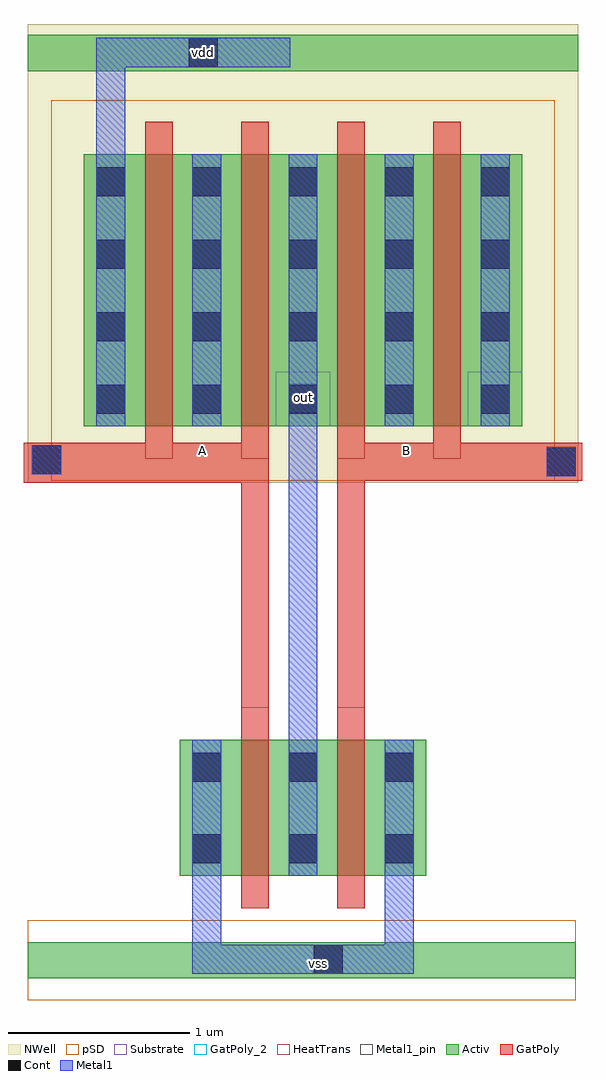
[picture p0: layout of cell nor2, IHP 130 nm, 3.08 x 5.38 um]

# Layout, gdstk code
import gdstk
lib = gdstk.Library(unit=1e-6, precision=5e-09)
def R(c, l, rs):  # rectangles x0, y0, x1, y1
    for r in rs: c.add(gdstk.rectangle(r[:2], r[2:], *l))
def A(c, l, x, y, w, h, nx, ny, dx, dy):  # array of equal rectangles
    R(c, l, [(x+i*dx, y+j*dy, x+i*dx+w, y+j*dy+h) for i in range(nx) for j in range(ny)])
Activ = (1, 0)
GatPoly = (5, 0)
GatPoly_2 = (5, 2)
Cont = (6, 0)
Metal1 = (8, 0)
Metal1_pin = (8, 2)
pSD = (14, 0)
NWell = (31, 0)
Substrate = (40, 0)
HeatTrans = (51, 0)

pmos = lib.new_cell('pmos')
A(pmos, Activ, 0, 0, 0.3, 0.3, 3, 1, 0.53, 0)
R(pmos, Activ, [(0,0,1.36,1.5)])
R(pmos, GatPoly, [(0.34,-0.18,0.49,1.68), (0.34,-0.18,0.49,1.68), (0.87,-0.18,1.02,1.68)])
A(pmos, Cont, 0.07, 0.07, 0.16, 0.16, 3, 4, 0.53, 0.4)
R(pmos, Metal1, [(0.07,0,0.23,1.5), (0.07,0,0.23,1.5), (0.6,0,0.76,1.5), (0.6,0,0.76,1.5), (1.13,0,1.29,1.5)])
R(pmos, pSD, [(-0.18,-0.3,1.54,1.8)])
R(pmos, NWell, [(-0.31,-0.31,1.67,1.81)])
R(pmos, Substrate, [(1.06,0,1.36,0.3)])
R(pmos, HeatTrans, [(0.34,-0.18,0.49,1.68), (0.87,-0.18,1.02,1.68)])
pmos.add(gdstk.Label('pmos', (0.415,0.75), layer=63, texttype=0))
pmos.add(gdstk.Label('pmos', (0.415,0.75), layer=51, texttype=0))
pmos.add(gdstk.Label('pmos', (0.945,0.75), layer=51, texttype=0))

nmos_2 = lib.new_cell('nmos$2')
R(nmos_2, Activ, [(0,0,0.3,0.3), (0,0,0.83,0.75), (0.53,0,0.83,0.3)])
R(nmos_2, GatPoly, [(0.34,-0.18,0.49,0.93)])
R(nmos_2, GatPoly_2, [(0.34,-0.18,0.49,0.93)])
R(nmos_2, Cont, [(0.07,0.07,0.23,0.23), (0.6,0.07,0.76,0.23), (0.07,0.52,0.23,0.68), (0.6,0.52,0.76,0.68)])
R(nmos_2, Metal1, [(0.07,0,0.23,0.75), (0.6,0,0.76,0.75)])
R(nmos_2, Metal1_pin, [(0.07,0,0.23,0.75), (0.6,0,0.76,0.75)])
R(nmos_2, HeatTrans, [(0.34,-0.18,0.49,0.93)])
nmos_2.add(gdstk.Label('nmos', (0.415,0.375), layer=63, texttype=0))
nmos_2.add(gdstk.Label('nmos', (0.415,0.375), layer=51, texttype=0))

nor2 = lib.new_cell('nor2')
R(nor2, Activ, [(-2.835,0.39,0.19,0.59), (-2.835,5.395,0.205,5.595)])
R(nor2, GatPoly, [(-1.655,1.885,-1.505,3.4), (-1.125,1.885,-0.975,3.4), (-2.855,3.125,-1.655,3.345), (-1.125,3.135,0.225,3.345)])
R(nor2, Cont, [(-1.255,0.415,-1.095,0.575), (0.03,3.16,0.19,3.32), (-2.81,3.17,-2.65,3.33), (-1.945,5.42,-1.785,5.58)])
R(nor2, Metal1, [(-1.925,0.415,-0.705,0.575), (-1.925,0.415,-1.765,1.185), (-1.255,0.415,-1.095,0.575), (-0.865,0.415,-0.705,1.185), (-1.395,1.47,-1.235,3.66), (0.03,3.16,0.19,3.32), (-2.81,3.17,-2.65,3.33), (-2.455,4.71,-2.295,5.58), (-2.455,5.415,-1.385,5.58), (-1.945,5.42,-1.79,5.58)])
R(nor2, Metal1_pin, [(-1.255,0.415,-1.095,0.575), (0.03,3.16,0.19,3.32), (-2.81,3.17,-2.65,3.33), (-1.395,3.51,-1.235,3.67), (-1.94,5.42,-1.785,5.58)])
R(nor2, pSD, [(-2.835,0.27,0.19,0.71)])
R(nor2, NWell, [(-2.835,5.245,0.205,5.655)])
nor2.add(gdstk.Reference(pmos, (-1.465,3.435)))
nor2.add(gdstk.Reference(pmos, (-2.525,3.435)))
nor2.add(gdstk.Reference(nmos_2, (-1.995,0.955)))
nor2.add(gdstk.Reference(nmos_2, (-1.465,0.955)))
nor2.add(gdstk.Label('vdd', (-1.865,5.5), layer=8, texttype=2))
nor2.add(gdstk.Label('out', (-1.315,3.595), layer=8, texttype=2))
nor2.add(gdstk.Label('B', (-0.745,3.3), layer=8, texttype=2))
nor2.add(gdstk.Label('A', (-1.87,3.3), layer=8, texttype=2))
nor2.add(gdstk.Label('vss', (-1.23,0.47), layer=8, texttype=2))

lib.write_gds('nor2.gds')
